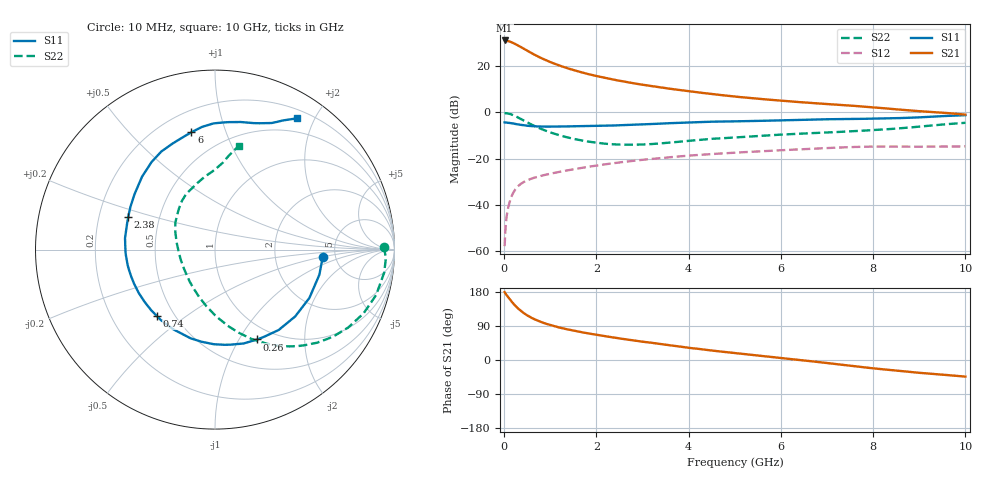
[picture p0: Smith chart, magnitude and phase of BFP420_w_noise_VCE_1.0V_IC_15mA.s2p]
! Infineon Technologies  Discrete & RF Semiconductors
! BFP420
! VCE =  1.0 V,  IC =  15 mA
! Common Emitter S-Parameters:  Jan 2016
# GHz  S  MA  R  50
!  f  S11  S21  S12  S22
! GHz  MAG  ANG  MAG  ANG  MAG  ANG  MAG  ANG
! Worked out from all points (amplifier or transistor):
!   233 points, 10 MHz to 10 GHz, reference 50 ohm
!   highest |S21| = 30.9 dB at 10 MHz (marker M1)
!   |S21| within 3 dB of that: start of sweep to 375.3 MHz
!   unconditionally stable (mu >= 1): 1.944 GHz to end of sweep
!   at 200 MHz: K = 0.19, MSG = 32.2 dB, |S12| = -34.6 dB
!   at 1.74 GHz: K = 0.95, MSG = 20.3 dB, |S12| = -23.8 dB
!   at 10 GHz: K = 1.07, MAG = 5.3 dB, |S12| = -14.8 dB
!   lowest NFmin = 1.06 dB at 900 MHz
!   S11 on the Smith chart (normalised r, x): 10 MHz: 3.96, -0.50; 260 MHz: 0.83, -1.20; 740 MHz: 0.40, -0.39; 2.38 GHz: 0.33, +0.16; 6 GHz: 0.33, +0.77; 10 GHz: 0.31, +1.76
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0.01  0.6023 -3.8  34.99 179.3  0.0013 87.6  0.9416 0.9
0.02  0.5999 -5.6  34.37 176.9  0.0021 91.1  0.9531 -2.8
0.05  0.5981 -13.6  34.28 171.8  0.0053 83.9  0.9515 -7.7
0.095  0.5901 -25.7  33.73 164.4  0.0095 79.1  0.9338 -14.9
0.15  0.5817 -39.8  32.42 155.8  0.0146 74.3  0.9006 -23.3
0.2  0.5714 -51.6  30.87 148.7  0.0186 69.3  0.8599 -30.3
0.26  0.5531 -64.9  28.69 140.9  0.0228 64.5  0.8055 -37.8
0.3  0.5467 -73.1  27.36 136.1  0.0253 61.9  0.7687 -42.5
0.36  0.5332 -84.1  25.29 129.9  0.0285 58.3  0.714 -48.7
0.5  0.5125 -105.4  20.99 117.7  0.0342 52.7  0.6014 -60.9
0.6  0.5013 -117.6  18.49 110.8  0.0373 50.1  0.5357 -68.0
0.74  0.4919 -131.1  15.69 103.3  0.041 47.9  0.4627 -76.2
0.9  0.4885 -143.7  13.22 95.9  0.0449 46.5  0.3986 -84.8
1.1  0.4892 -155.9  10.97 88.8  0.0495 45.6  0.3403 -94.3
1.68  0.4996 179.6  7.196 73.4  0.063 43.8  0.246 -119.4
2.38  0.5164 159.4  4.995 59.2  0.0797 40.3  0.2028 -148.7
3.4  0.5676 136.9  3.399 42.0  0.103 32.9  0.213 172.5
5.1  0.6364 111.8  2.12 17.0  0.1358 18.6  0.2886 136.5
6  0.6669 101.4  1.768 5.5  0.1512 11.3  0.3283 124.1
6.8  0.6961 92.8  1.543 -5.2  0.1653 3.7  0.358 113.2
8.4  0.7366 73.1  1.173 -27.0  0.181 -13.8  0.435 92.0
10  0.8605 58.1  0.885 -43.8  0.1829 -25.4  0.59 77.1
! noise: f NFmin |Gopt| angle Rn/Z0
0.9  1.06  0.09  -152  0.13
1.8  1.36  0.18  -147  0.12
2.4  1.49  0.17  -148  0.14
3  1.53  0.25  -138  0.14
4  1.67  0.38  -119  0.2
5  2.14  0.44  -103  0.32
6  2.48  0.5  -88  0.47
